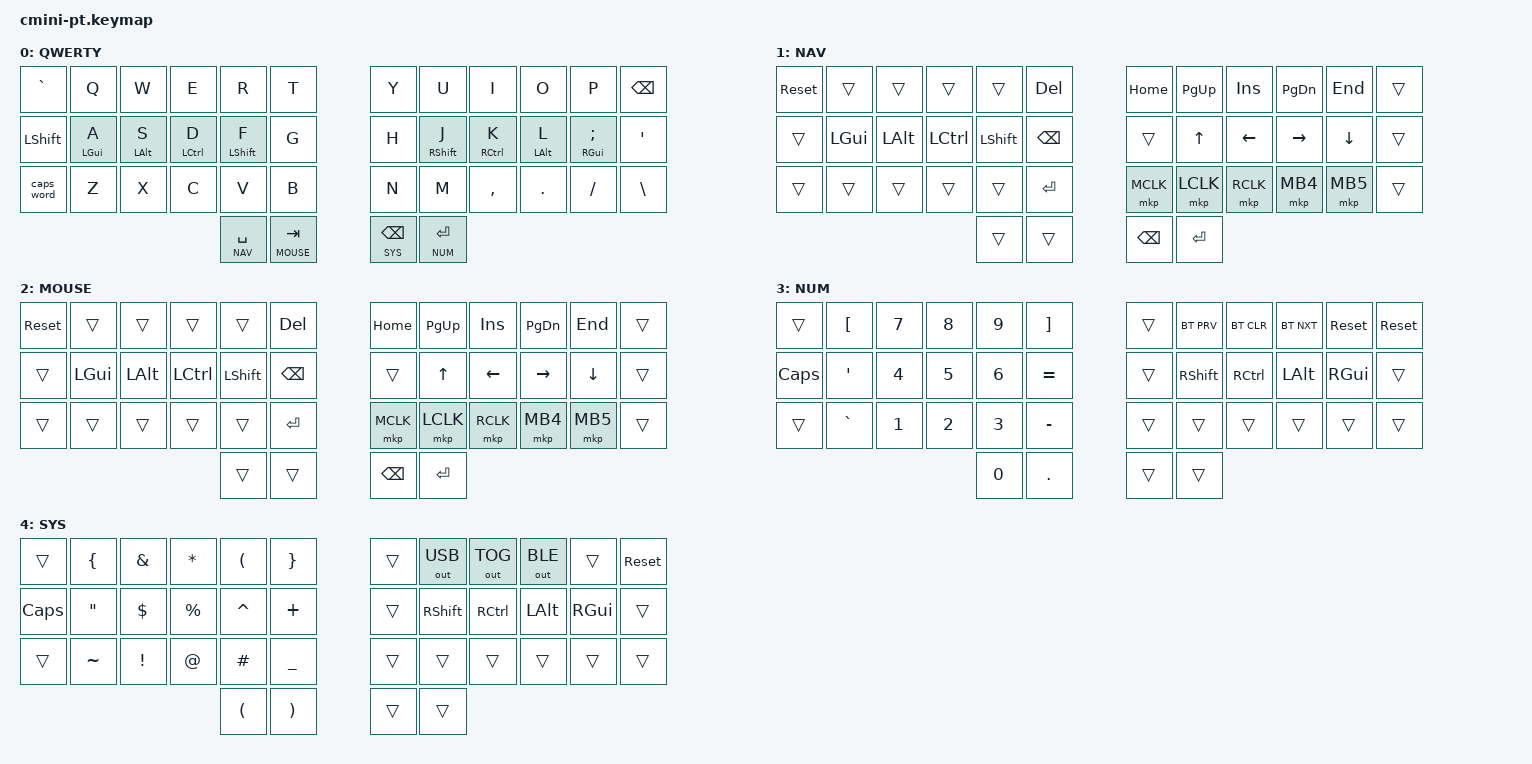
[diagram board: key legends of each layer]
#include <behaviors.dtsi>
#include <behaviors/mouse_keys.dtsi>
#include <dt-bindings/zmk/keys.h>
#include <dt-bindings/zmk/bt.h>
#include <dt-bindings/zmk/outputs.h>
#include <dt-bindings/zmk/ext_power.h>
#include <dt-bindings/zmk/mouse.h>
#define QWERTY 0
#define NAV 1
#define MOUSE 2
#define NUM 3
#define SYS 4


#define UNDO LC(Z)
#define REDO LC(Y)
#define COPY LC(C)
#define CUT LC(X)
#define PASTE LC(V)
#define CLOSE LC(W)
#define REFRESH LC(R)
#define SAVE LC(S)
#define FIND LC(F)
#define FINDALL LC(LS(F))

#define P_ESC 0
#define P_Q 1
#define P_W 2
#define P_E 3
#define P_R 4
#define P_T 5
#define P_Y 6
#define P_U 7
#define P_I 8
#define P_O 9
#define P_P 10
#define P_BSPC 11
#define P_TAB 12
#define P_A 13
#define P_S 14
#define P_D 15
#define P_F 16
#define P_G 17
#define P_H 18
#define P_J 19
#define P_K 20
#define P_L 21
#define P_SEMI 22
#define P_SQT 23
#define P_CAPS
#define P_Z 25
#define P_X 26
#define P_C 27
#define P_V 28
#define P_B 29
#define P_N 30
#define P_M 31
#define P_COMMA 32
#define P_DOT 33
#define P_FSLH 34
#define P_BSLH 35

#define P_NAV 36
#define P_MOUSE 37
#define P_SYS 38
#define P_NUM 39

#define KEYS_L P_ESC P_Q P_W P_E P_R P_T P_TAB P_A P_S P_D P_F P_G P_CAPS P_Z P_X P_C P_V P_B 
#define KEYS_R P_Y P_U P_I P_O P_P P_BSPC P_H P_J P_K P_L P_SEMI P_SQT P_N P_M P_COMMA P_DOT P_FSLH P_BSLH 
#define THUMBS_L P_NAV P_MOUSE
#define THUMBS_R P_SYS P_NUM

#define COMBO_TIMEOUT 200
#define MACRO_TAP 10
#define MACRO_WAIT 0

&sk {
    release-after-ms = <2000>;
    quick-release;
};

&caps_word {
    continue-list = <UNDERSCORE MINUS>;
};

&lt { 
    flavor = "tap-preferred";
    tapping-term-ms = <150>;
    quick-tap-ms = <185>; 
    require-prior-idle-ms = <75>;
};

/{

    ib_wheel_scaler_x: ib_wheel_scaler_x {
        compatible = "zmk,input-behavior-scaler";
        #binding-cells = <2>;
        evt-type = <INPUT_EV_REL>;
        input-code = <INPUT_REL_WHEEL>;
    };

    ib_wheel_scaler_y: ib_wheel_scaler_y {
        compatible = "zmk,input-behavior-scaler";
        #binding-cells = <2>;
        evt-type = <INPUT_EV_REL>;
        input-code = <INPUT_REL_HWHEEL>;
    };

    ib_move_scaler_x: ib_move_scaler_x {
        compatible = "zmk,input-behavior-scaler";
        #binding-cells = <2>;
        evt-type = <INPUT_EV_REL>;
        input-code = <INPUT_REL_X>;
    };

    ib_move_scaler_y: ib_move_scaler_y {
        compatible = "zmk,input-behavior-scaler";
        #binding-cells = <2>;
        evt-type = <INPUT_EV_REL>;
        input-code = <INPUT_REL_Y>;
    };

  trackpad_peripheral_scroll_listener {
        compatible = "zmk,input-behavior-listener";
        device = <&vtrackpad>;
        layers = <QWERTY NAV MOUSE>;
        bindings = <&ib_wheel_scaler_x 1 8 &ib_wheel_scaler_y 1 8>;
        evt-type = <INPUT_EV_REL>;
        x-input-code = <INPUT_REL_HWHEEL>;
        y-input-code = <INPUT_REL_WHEEL>;
   }; 

   trackpad_peripheral_scroll_snipe_listener {
        compatible = "zmk,input-behavior-listener";
        device = <&vtrackpad>;
        layers = <NUM SYS>;
        bindings = <&ib_wheel_scaler_x 1 16 &ib_wheel_scaler_y 1 16>;
        evt-type = <INPUT_EV_REL>;
        x-input-code = <INPUT_REL_HWHEEL>;
        y-input-code = <INPUT_REL_WHEEL>;
   }; 

   trackball_peripheral_listener {
        compatible = "zmk,input-behavior-listener";
        device = <&vtrackball>;
        layers = <QWERTY NAV NUM SYS>;
        evt-type = <INPUT_EV_REL>;
        x-input-code = <INPUT_REL_X>;
        y-input-code = <INPUT_REL_Y>;
   };

   trackball_peripheral_snipe_listener {
        compatible = "zmk,input-behavior-listener";
        device = <&vtrackball>;
        layers = <NAV>;
        evt-type = <INPUT_EV_REL>;
        x-input-code = <INPUT_REL_X>;
        y-input-code = <INPUT_REL_Y>;
        bindings = <&ib_move_scaler_x 1 4 &ib_move_scaler_y 1 8>;
   };

   trackball_peripheral_scroll_listener {
        compatible = "zmk,input-behavior-listener";
        device = <&vtrackball>;
        layers = <MOUSE>;
        evt-type = <INPUT_EV_REL>;
        x-input-code = <INPUT_REL_HWHEEL>;
        y-input-code = <INPUT_REL_WHEEL>;
        bindings = <&ib_wheel_scaler_x 1 8 &ib_wheel_scaler_y 1 8>;
   };

    macros {
        type_great: type_great {
            compatible = "zmk,behavior-macro";
            #binding-cells = <0>;
            wait-ms = <0>;
            tap-ms = <10>;
            bindings = <&macro_tap &kp G &kp R &kp E &kp A &kp T>;
        };
    };

    combos {
        compatible = "zmk,combos";

        type_great_combo {
            bindings = <&type_great>;
            // Caps Word (24) + backslash (35), on both keyboard layouts.
            key-positions = <24 35>;
            timeout-ms = <80>;
            require-prior-idle-ms = <75>;
        };


        left_bkt {
            bindings = <&kp LEFT_BRACKET>;
            key-positions = <P_W P_R>;
            timeout-ms = <80>;
            require-prior-idle-ms = <75>;
        };

        right_bkt {
            bindings = <&kp RIGHT_BRACKET>;
            key-positions = <P_U P_O>;
            timeout-ms = <80>;
            require-prior-idle-ms = <75>;
        };

        left_par {
            bindings = <&kp LEFT_PARENTHESIS>;
            key-positions = <P_S P_F>;
            timeout-ms = <80>;
            require-prior-idle-ms = <75>;
        };

        right_par {
            bindings = <&kp RIGHT_PARENTHESIS>;
            key-positions = <P_J P_L>;
            timeout-ms = <80>;
            require-prior-idle-ms = <75>;
        };

        left_brace {
            bindings = <&kp LEFT_BRACE>;
            key-positions = <P_X P_V>;
            timeout-ms = <80>;
            require-prior-idle-ms = <75>;
        };

        right_brace {
            bindings = <&kp RIGHT_BRACE>;
            key-positions = <P_M P_DOT>;
            timeout-ms = <80>;
            require-prior-idle-ms = <75>;
        };

        bac {
            bindings = <&kp BACKSLASH>;
            key-positions = <P_B P_N>;
            timeout-ms = <80>;
            require-prior-idle-ms = <75>;
        };

        slash {
            bindings = <&kp FSLH>;
            key-positions = <P_G P_H>;
            timeout-ms = <80>;
            require-prior-idle-ms = <75>;
        };

        pipe {
            bindings = <&kp PIPE>;
            key-positions = <P_T P_Y>;
            timeout-ms = <80>;
            require-prior-idle-ms = <75>;
        };

        copy {
            bindings = <&kp COPY>;
            key-positions = <P_X P_C>;
            timeout-ms = <80>;
            require-prior-idle-ms = <75>;
        };

        paste {
            bindings = <&kp PASTE>;
            key-positions = <P_C P_V>;
            timeout-ms = <80>;
            require-prior-idle-ms = <75>;
        };

        close {
            bindings = <&kp CLOSE>;
            key-positions = <P_W P_E>;
            timeout-ms = <80>;
            require-prior-idle-ms = <75>;
        };

        findall {
            bindings = <&kp FINDALL>;
            key-positions = <P_S P_D>;
            timeout-ms = <80>;
            require-prior-idle-ms = <75>;
        };

        find {
            bindings = <&kp FIND>;
            key-positions = <P_D P_F>;
            timeout-ms = <80>;
            require-prior-idle-ms = <75>;
        };

        save {
            bindings = <&kp SAVE>;
            key-positions = <P_Z P_V>;
            timeout-ms = <80>;
            require-prior-idle-ms = <75>;
        };

        cut {
            bindings = <&kp CUT>;
            key-positions = <P_Z P_X>;
            timeout-ms = <80>;
            require-prior-idle-ms = <75>;
        };

        grave {
            bindings = <&kp GRAVE>;
            key-positions = <P_D P_K>;
            timeout-ms = <80>;
            require-prior-idle-ms = <75>;
        };

        single-quote {
            bindings = <&kp SQT>;
            key-positions = <P_E P_I>;
            timeout-ms = <80>;
            require-prior-idle-ms = <75>;
        };

        double-quote {
            bindings = <&kp DQT>;
            key-positions = <P_C P_COMMA>;
            timeout-ms = <80>;
            require-prior-idle-ms = <75>;
        };

        lt {
            bindings = <&kp LS(COMMA)>;
            key-positions = <P_J P_K>;
            timeout-ms = <80>;
            require-prior-idle-ms = <75>;
        };

        gt {
            bindings = <&kp LS(DOT)>;
            key-positions = <P_K P_L>;
            timeout-ms = <80>;
            require-prior-idle-ms = <75>;
        };

        colon {
            bindings = <&kp LS(SEMI)>;
            key-positions = <P_M P_COMMA>;
            timeout-ms = <80>;
            require-prior-idle-ms = <75>;
        };

        semi {
            bindings = <&kp SEMI>;
            key-positions = <P_COMMA P_DOT>;
            timeout-ms = <80>;
            require-prior-idle-ms = <75>;
        };

        esc {
            bindings = <&kp ESC>;
            key-positions = <P_V P_B>;
            timeout-ms = <80>;
            require-prior-idle-ms = <75>;
        };
    };


    behaviors {
        lh_hmsf: left_hand_homerow_mods_shift {
            compatible = "zmk,behavior-hold-tap";
            label = "LEFT_HOMEROW_MODS_SHIFT";
            #binding-cells = <2>;
            flavor = "hold-preferred";
            tapping-term-ms = <125>;                       
            quick-tap-ms = <125>;
            require-prior-idle-ms = <75>;
            global-quick-tap;     
            bindings = <&kp>, <&kp>;
            hold-trigger-key-positions = <KEYS_R THUMBS_L THUMBS_R>;
        };

        rh_hmsf: right_hand_homerow_mods_shift {
            compatible = "zmk,behavior-hold-tap";
            label = "RIGHT_HOMEROW_MODS_SHIFT";
            #binding-cells = <2>;
            flavor = "hold-preferred";
            tapping-term-ms = <125>;                       
            quick-tap-ms = <125>;
            require-prior-idle-ms = <75>;
            global-quick-tap;       
            bindings = <&kp>, <&kp>;
            hold-trigger-key-positions = <KEYS_L THUMBS_L THUMBS_R>;
        };

        lh_hmctrl: left_hand_homerow_mods_control {
            compatible = "zmk,behavior-hold-tap";
            label = "LEFT_HOMEROW_MODS_CONTROL";
            #binding-cells = <2>;
            tapping-term-ms = <125>;
            quick-tap-ms = <125>;
            require-prior-idle-ms = <75>;
            global-quick-tap;
            flavor = "tap-preferred";    
            bindings = <&kp>, <&kp>;
        };

        rh_hmctrl: right_hand_homerow_mods_control {
            compatible = "zmk,behavior-hold-tap";
            label = "RIGHT_HOMEROW_MODS_CONTROL";
            #binding-cells = <2>;
            tapping-term-ms = <125>;
            quick-tap-ms = <125>;
            require-prior-idle-ms = <75>;
            global-quick-tap;
            flavor = "tap-preferred";       
            bindings = <&kp>, <&kp>;
        };

        lh_hmgui: left_hand_homerow_mods_gui {
            compatible = "zmk,behavior-hold-tap";
            label = "LEFT_HOMEROW_MODS_GUI";
            #binding-cells = <2>;
            tapping-term-ms = <200>;
            quick-tap-ms = <125>;
            require-prior-idle-ms = <75>;
            global-quick-tap;
            flavor = "tap-preferred";
            bindings = <&kp>, <&kp>;
        };

        rh_hmgui: right_hand_homerow_mods_gui {
            compatible = "zmk,behavior-hold-tap";
            label = "RIGHT_HOMEROW_MODS_GUI";
            #binding-cells = <2>;
            tapping-term-ms = <200>;
            quick-tap-ms = <125>;
            require-prior-idle-ms = <75>;
            global-quick-tap;
            flavor = "tap-preferred";
            bindings = <&kp>, <&kp>;
        };
    };


    keymap {
        compatible = "zmk,keymap";

        qwerty {
            label = "QWERTY";
            bindings = <
                &kp GRAVE   &kp Q  &kp W  &kp E  &kp R  &kp T               &kp Y  &kp U  &kp I     &kp O   &kp P    &kp BSPC
                &kp LSHIFT &lh_hmgui LGUI A  &lh_hmgui LALT S  &lh_hmctrl LCTRL D  &lh_hmsf LSHIFT F  &kp G               &kp H  &rh_hmsf RSHIFT J  &rh_hmctrl RCTRL K     &rh_hmgui LALT L   &rh_hmgui RGUI SEMI &kp SQT
                &caps_word &kp Z  &kp X  &kp C  &kp V  &kp B               &kp N  &kp M  &kp COMMA &kp DOT &kp FSLH &kp BSLH
                        &lt NAV SPACE  &lt MOUSE TAB                       &lt SYS BSPC  &lt NUM ENTER
            >;
        };

        nav {
            label = "NAV";
            bindings = <
                &sys_reset  &trans &trans &trans &trans &kp DEL                &kp HOME  &kp PAGE_UP &kp INSERT &kp PAGE_DOWN &kp END &trans
                &trans  &kp LGUI &kp LALT &kp LCTRL &kp LSHIFT &kp BSPC      &trans &kp UP &kp LEFT &kp RIGHT &kp DOWN &trans
                &trans  &trans &trans &trans &trans &kp ENTER       &mkp MCLK &mkp LCLK &mkp RCLK &mkp MB4 &mkp MB5 &trans
                                             &trans  &trans                &kp BSPC &kp ENTER
            >;
        };

        mouse {
            label = "MOUSE";
            bindings = <
                &sys_reset  &trans &trans &trans &trans &kp DEL                &kp HOME  &kp PAGE_UP &kp INSERT &kp PAGE_DOWN &kp END &trans
                &trans  &kp LGUI &kp LALT &kp LCTRL &kp LSHIFT &kp BSPC      &trans &kp UP &kp LEFT &kp RIGHT &kp DOWN &trans
                &trans  &trans &trans &trans &trans &kp ENTER       &mkp MCLK &mkp LCLK &mkp RCLK &mkp MB4 &mkp MB5 &trans
                                             &trans  &trans                &kp BSPC &kp ENTER
            >;
        };


        num {
            label = "NUM";
            bindings = <
                &trans  &kp LBKT &kp N7 &kp N8 &kp N9 &kp RBKT             &trans  &bt BT_PRV &bt BT_CLR &bt BT_NXT &sys_reset &sys_reset
                &kp CAPS  &kp SQT &kp N4 &kp N5 &kp N6 &kp EQUAL          &trans  &kp RSHFT &kp RCTRL &kp LALT &kp RGUI &trans
                &trans  &kp GRAVE &kp N1 &kp N2 &kp N3 &kp MINUS           &trans  &trans &trans &trans &trans &trans
                                             &kp N0 &kp DOT                 &trans &trans
            >;
        };

        sys {
            label = "SYS";
            bindings = <
                &trans  &kp LBRC &kp AMPERSAND &kp ASTERISK &kp LPAR &kp RBRC             &trans  &out OUT_USB &out OUT_TOG &out OUT_BLE &trans &sys_reset
                &kp CAPS  &kp DQT &kp DOLLAR &kp PERCENT &kp CARET &kp PLUS          &trans  &kp RSHFT &kp RCTRL &kp LALT &kp RGUI &trans
                &trans  &kp TILDE &kp EXCL &kp AT &kp HASH &kp UNDER           &trans  &trans &trans &trans &trans &trans
                                             &kp LPAR &kp RPAR                 &trans &trans
            >;
        };
    };
};
 
